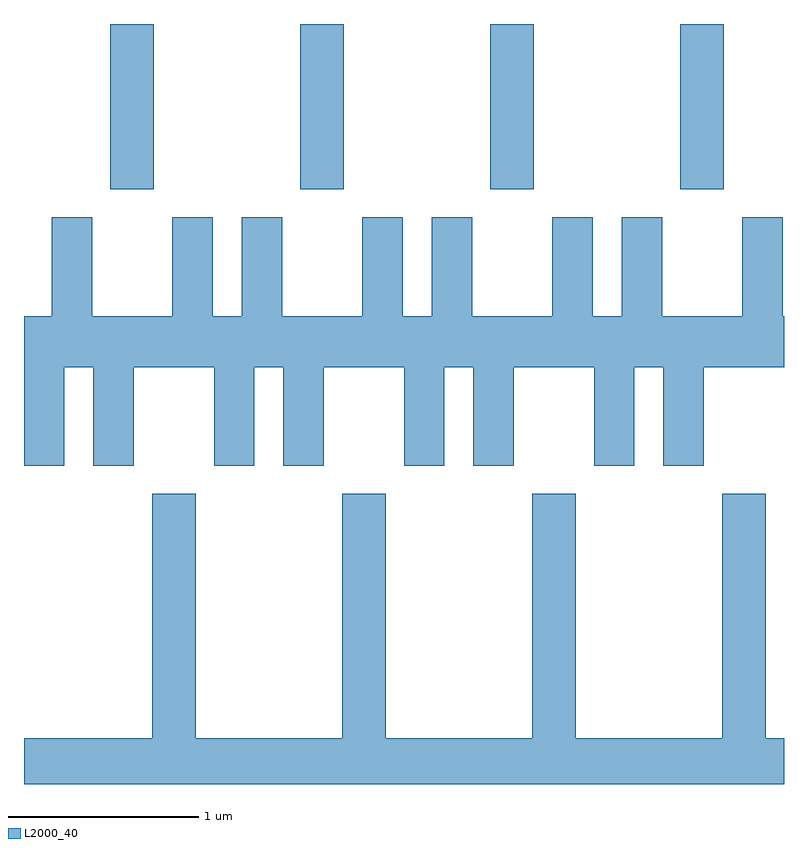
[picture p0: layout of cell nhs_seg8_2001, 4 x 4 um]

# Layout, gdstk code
import gdstk
lib = gdstk.Library(unit=1e-6, precision=1e-09)
def R(c, l, rs):  # rectangles x0, y0, x1, y1
    for r in rs: c.add(gdstk.rectangle(r[:2], r[2:], *l))
def A(c, l, x, y, w, h, nx, ny, dx, dy):  # array of equal rectangles
    R(c, l, [(x+i*dx, y+j*dy, x+i*dx+w, y+j*dy+h) for i in range(nx) for j in range(ny)])
def P(c, l, *ps):  # polygons
    for p in ps: c.add(gdstk.Polygon(p, *l))
L2000_40 = (2000, 40)

nhs_seg8_2001 = lib.new_cell('nhs_seg8_2001')
A(nhs_seg8_2001, L2000_40, 244.066, 1939.471, 0.228, 0.871, 4, 1, 1, 0)
P(nhs_seg8_2001, L2000_40, [(243.824,1938.536),(243.976,1938.536),(243.976,1938.016),(244.189,1938.016),(244.189,1938.536),(244.611,1938.536),(244.611,1938.016),(244.824,1938.016),(244.824,1938.536),(244.976,1938.536),(244.976,1938.016),(245.189,1938.016),(245.189,1938.536),(245.611,1938.536),(245.611,1938.016),(245.824,1938.016),(245.824,1938.536),(245.976,1938.536),(245.976,1938.016),(246.189,1938.016),(246.189,1938.536),(246.611,1938.536),(246.611,1938.016),(246.824,1938.016),(246.824,1938.536),(246.976,1938.536),(246.976,1938.016),(247.189,1938.016),(247.189,1938.536),(247.611,1938.536),(247.611,1938.804),(247.604,1938.804),(247.604,1939.324),(247.391,1939.324),(247.391,1938.804),(246.969,1938.804),(246.969,1939.324),(246.756,1939.324),(246.756,1938.804),(246.604,1938.804),(246.604,1939.324),(246.391,1939.324),(246.391,1938.804),(245.969,1938.804),(245.969,1939.324),(245.756,1939.324),(245.756,1938.804),(245.604,1938.804),(245.604,1939.324),(245.391,1939.324),(245.391,1938.804),(244.969,1938.804),(244.969,1939.324),(244.756,1939.324),(244.756,1938.804),(244.604,1938.804),(244.604,1939.324),(244.391,1939.324),(244.391,1938.804),(243.969,1938.804),(243.969,1939.324),(243.756,1939.324),(243.756,1938.804),(243.611,1938.804),(243.611,1938.016),(243.824,1938.016)],
  [(247.611,1936.584),(247.514,1936.584),(247.514,1937.869),(247.286,1937.869),(247.286,1936.584),(246.514,1936.584),(246.514,1937.869),(246.286,1937.869),(246.286,1936.584),(245.514,1936.584),(245.514,1937.869),(245.286,1937.869),(245.286,1936.584),(244.514,1936.584),(244.514,1937.869),(244.286,1937.869),(244.286,1936.584),(243.611,1936.584),(243.611,1936.342),(247.611,1936.342)])

lib.write_gds('nhs_seg8_2001.gds')
